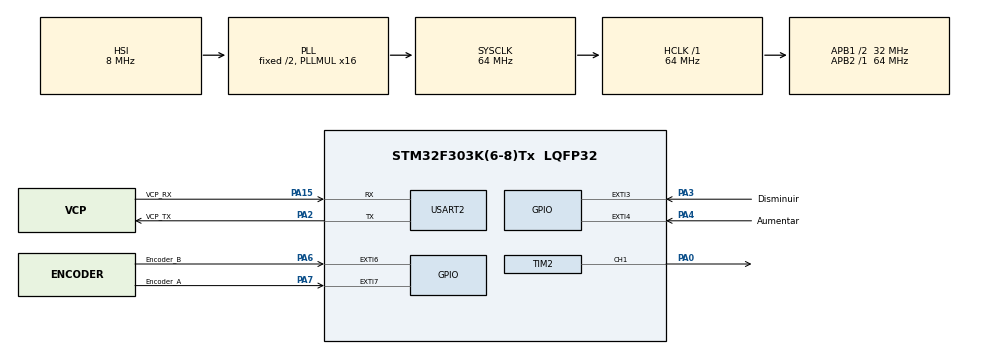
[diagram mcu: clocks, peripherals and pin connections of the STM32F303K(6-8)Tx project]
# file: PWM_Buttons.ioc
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Mcu.Family=STM32F3
Mcu.Name=STM32F303K(6-8)Tx
Mcu.Package=LQFP32
NVIC.EXTI3_IRQn=true\:0\:0\:false\:false\:true\:true
NVIC.EXTI4_IRQn=true\:0\:0\:false\:false\:true\:true
NVIC.EXTI9_5_IRQn=true\:0\:0\:false\:false\:true\:true
NVIC.PriorityGroup=NVIC_PRIORITYGROUP_4
NVIC.TIM3_IRQn=true\:0\:0\:false\:false\:true\:true
PA0.Signal=S_TIM2_CH1_ETR
PA13.GPIO_Label=SWDIO
PA13.Mode=Serial_Wire
PA13.Signal=SYS_JTMS-SWDIO
PA14.GPIO_Label=SWCLK
PA14.Mode=Serial_Wire
PA14.Signal=SYS_JTCK-SWCLK
PA15.GPIO_Label=VCP_RX
PA15.Mode=Asynchronous
PA15.Signal=USART2_RX
PA2.GPIO_Label=VCP_TX
PA2.Mode=Asynchronous
PA2.Signal=USART2_TX
PA3.GPIO_Label=Disminuir
PA3.GPIO_PuPd=GPIO_PULLUP
PA3.Signal=GPXTI3
PA4.GPIO_Label=Aumentar
PA4.GPIO_PuPd=GPIO_PULLUP
PA4.Signal=GPXTI4
PA6.GPIO_Label=Encoder_B
PA6.Signal=GPXTI6
PA7.GPIO_Label=Encoder_A
PA7.Signal=GPXTI7
PF0\ /\ OSC_IN.GPIO_Label=MCO
PF0\ /\ OSC_IN.Mode=HSE-External-Clock-Source
PF0\ /\ OSC_IN.Signal=RCC_OSC_IN
ProjectManager.HeapSize=0x200
ProjectManager.StackSize=0x400
ProjectManager.TargetToolchain=TrueSTUDIO
RCC.AHBFreq_Value=64000000
RCC.APB1CLKDivider=RCC_HCLK_DIV2
RCC.APB1Freq_Value=32000000
RCC.APB1TimFreq_Value=64000000
RCC.APB2Freq_Value=64000000
RCC.APB2TimFreq_Value=64000000
RCC.CortexFreq_Value=64000000
RCC.HCLKFreq_Value=64000000
RCC.HSE_VALUE=8000000
RCC.HSI_VALUE=8000000
RCC.PLLMUL=RCC_PLL_MUL16
RCC.SYSCLKFreq_VALUE=64000000
RCC.SYSCLKSourceVirtual=RCC_SYSCLKSOURCE_PLLCLK
SH.S_TIM2_CH1_ETR.0=TIM2_CH1,PWM Generation1 CH1
TIM2.Channel-PWM\ Generation1\ CH1=TIM_CHANNEL_1
TIM2.Period=1199
TIM2.Prescaler=1
TIM2.Pulse-PWM\ Generation1\ CH1=600
TIM2.TIM_MasterOutputTrigger=TIM_TRGO_RESET
TIM3.Period=99
TIM3.Prescaler=31999
USART2.VirtualMode-Asynchronous=VM_ASYNC
VP_TIM2_VS_ClockSourceINT.Mode=Internal
VP_TIM3_VS_ClockSourceINT.Mode=Internal
board=NUCLEO-F303K8

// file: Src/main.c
/* USER CODE BEGIN Header */
/**
  ******************************************************************************
  * @file           : main.c
  * @brief          : Main program body
  ******************************************************************************
  ** This notice applies to any and all portions of this file
  * that are not between comment pairs USER CODE BEGIN and
  * USER CODE END. Other portions of this file, whether
  * inserted by the user or by software development tools
  * are owned by their respective copyright owners.
  *
  * COPYRIGHT(c) 2019 STMicroelectronics
  *
  * Redistribution and use in source and binary forms, with or without modification,
  * are permitted provided that the following conditions are met:
  *   1. Redistributions of source code must retain the above copyright notice,
  *      this list of conditions and the following disclaimer.
  *   2. Redistributions in binary form must reproduce the above copyright notice,
  *      this list of conditions and the following disclaimer in the documentation
  *      and/or other materials provided with the distribution.
  *   3. Neither the name of STMicroelectronics nor the names of its contributors
  *      may be used to endorse or promote products derived from this software
  *      without specific prior written permission.
  *
  * THIS SOFTWARE IS PROVIDED BY THE COPYRIGHT HOLDERS AND CONTRIBUTORS "AS IS"
  * AND ANY EXPRESS OR IMPLIED WARRANTIES, INCLUDING, BUT NOT LIMITED TO, THE
  * IMPLIED WARRANTIES OF MERCHANTABILITY AND FITNESS FOR A PARTICULAR PURPOSE ARE
  * DISCLAIMED. IN NO EVENT SHALL THE COPYRIGHT HOLDER OR CONTRIBUTORS BE LIABLE
  * FOR ANY DIRECT, INDIRECT, INCIDENTAL, SPECIAL, EXEMPLARY, OR CONSEQUENTIAL
  * DAMAGES (INCLUDING, BUT NOT LIMITED TO, PROCUREMENT OF SUBSTITUTE GOODS OR
  * SERVICES; LOSS OF USE, DATA, OR PROFITS; OR BUSINESS INTERRUPTION) HOWEVER
  * CAUSED AND ON ANY THEORY OF LIABILITY, WHETHER IN CONTRACT, STRICT LIABILITY,
  * OR TORT (INCLUDING NEGLIGENCE OR OTHERWISE) ARISING IN ANY WAY OUT OF THE USE
  * OF THIS SOFTWARE, EVEN IF ADVISED OF THE POSSIBILITY OF SUCH DAMAGE.
  *
  ******************************************************************************
  */
/* USER CODE END Header */

#include "main.h"

/* USER CODE BEGIN PD */
static int duty_cycle = 600;
static char duty_cycle_char[6];
static uint8_t duty_cycle_tx[6];
/* USER CODE END PD */

TIM_HandleTypeDef htim2;
TIM_HandleTypeDef htim3;

UART_HandleTypeDef huart2;

void SystemClock_Config(void);
static void MX_GPIO_Init(void);
static void MX_USART2_UART_Init(void);
static void MX_TIM2_Init(void);
static void MX_TIM3_Init(void);

int main(void)
{

  /* MCU Configuration--------------------------------------------------------*/

  /* Reset of all peripherals, Initializes the Flash interface and the Systick. */
  HAL_Init();

  /* Configure the system clock */
  SystemClock_Config();

  /* Initialize all configured peripherals */
  MX_GPIO_Init();
  MX_USART2_UART_Init();
  MX_TIM2_Init();
  MX_TIM3_Init();
  /* USER CODE BEGIN 2 */
  HAL_TIM_PWM_Start(&htim2, TIM_CHANNEL_1);
  /* USER CODE END 2 */

  /* Infinite loop */
  while (1)
  {

  }
}

void SystemClock_Config(void)
{
  RCC_OscInitTypeDef RCC_OscInitStruct = {0};
  RCC_ClkInitTypeDef RCC_ClkInitStruct = {0};

  /**Initializes the CPU, AHB and APB busses clocks
  */
  RCC_OscInitStruct.OscillatorType = RCC_OSCILLATORTYPE_HSI;
  RCC_OscInitStruct.HSIState = RCC_HSI_ON;
  RCC_OscInitStruct.HSICalibrationValue = RCC_HSICALIBRATION_DEFAULT;
  RCC_OscInitStruct.PLL.PLLState = RCC_PLL_ON;
  RCC_OscInitStruct.PLL.PLLSource = RCC_PLLSOURCE_HSI;
  RCC_OscInitStruct.PLL.PLLMUL = RCC_PLL_MUL16;
  if (HAL_RCC_OscConfig(&RCC_OscInitStruct) != HAL_OK)
  {
    Error_Handler();
  }
  /**Initializes the CPU, AHB and APB busses clocks
  */
  RCC_ClkInitStruct.ClockType = RCC_CLOCKTYPE_HCLK|RCC_CLOCKTYPE_SYSCLK
                              |RCC_CLOCKTYPE_PCLK1|RCC_CLOCKTYPE_PCLK2;
  RCC_ClkInitStruct.SYSCLKSource = RCC_SYSCLKSOURCE_PLLCLK;
  RCC_ClkInitStruct.AHBCLKDivider = RCC_SYSCLK_DIV1;
  RCC_ClkInitStruct.APB1CLKDivider = RCC_HCLK_DIV2;
  RCC_ClkInitStruct.APB2CLKDivider = RCC_HCLK_DIV1;

  if (HAL_RCC_ClockConfig(&RCC_ClkInitStruct, FLASH_LATENCY_2) != HAL_OK)
  {
    Error_Handler();
  }
}

static void MX_TIM2_Init(void)
{

  TIM_ClockConfigTypeDef sClockSourceConfig = {0};
  TIM_MasterConfigTypeDef sMasterConfig = {0};
  TIM_OC_InitTypeDef sConfigOC = {0};

  htim2.Instance = TIM2;
  htim2.Init.Prescaler = 1;
  htim2.Init.CounterMode = TIM_COUNTERMODE_UP;
  htim2.Init.Period = 1199;
  htim2.Init.ClockDivision = TIM_CLOCKDIVISION_DIV1;
  htim2.Init.AutoReloadPreload = TIM_AUTORELOAD_PRELOAD_DISABLE;
  if (HAL_TIM_Base_Init(&htim2) != HAL_OK)
  {
    Error_Handler();
  }
  sClockSourceConfig.ClockSource = TIM_CLOCKSOURCE_INTERNAL;
  if (HAL_TIM_ConfigClockSource(&htim2, &sClockSourceConfig) != HAL_OK)
  {
    Error_Handler();
  }
  if (HAL_TIM_PWM_Init(&htim2) != HAL_OK)
  {
    Error_Handler();
  }
  sMasterConfig.MasterOutputTrigger = TIM_TRGO_RESET;
  sMasterConfig.MasterSlaveMode = TIM_MASTERSLAVEMODE_DISABLE;
  if (HAL_TIMEx_MasterConfigSynchronization(&htim2, &sMasterConfig) != HAL_OK)
  {
    Error_Handler();
  }
  sConfigOC.OCMode = TIM_OCMODE_PWM1;
  sConfigOC.Pulse = 600;
  sConfigOC.OCPolarity = TIM_OCPOLARITY_HIGH;
  sConfigOC.OCFastMode = TIM_OCFAST_DISABLE;
  if (HAL_TIM_PWM_ConfigChannel(&htim2, &sConfigOC, TIM_CHANNEL_1) != HAL_OK)
  {
    Error_Handler();
  }
  HAL_TIM_MspPostInit(&htim2);

}

static void MX_TIM3_Init(void)
{

  TIM_ClockConfigTypeDef sClockSourceConfig = {0};
  TIM_MasterConfigTypeDef sMasterConfig = {0};

  htim3.Instance = TIM3;
  htim3.Init.Prescaler = 31999;
  htim3.Init.CounterMode = TIM_COUNTERMODE_UP;
  htim3.Init.Period = 99;
  htim3.Init.ClockDivision = TIM_CLOCKDIVISION_DIV1;
  htim3.Init.AutoReloadPreload = TIM_AUTORELOAD_PRELOAD_DISABLE;
  if (HAL_TIM_Base_Init(&htim3) != HAL_OK)
  {
    Error_Handler();
  }
  sClockSourceConfig.ClockSource = TIM_CLOCKSOURCE_INTERNAL;
  if (HAL_TIM_ConfigClockSource(&htim3, &sClockSourceConfig) != HAL_OK)
  {
    Error_Handler();
  }
  sMasterConfig.MasterOutputTrigger = TIM_TRGO_RESET;
  sMasterConfig.MasterSlaveMode = TIM_MASTERSLAVEMODE_DISABLE;
  if (HAL_TIMEx_MasterConfigSynchronization(&htim3, &sMasterConfig) != HAL_OK)
  {
    Error_Handler();
  }

}

static void MX_USART2_UART_Init(void)
{

  huart2.Instance = USART2;
  huart2.Init.BaudRate = 38400;
  huart2.Init.WordLength = UART_WORDLENGTH_8B;
  huart2.Init.StopBits = UART_STOPBITS_1;
  huart2.Init.Parity = UART_PARITY_NONE;
  huart2.Init.Mode = UART_MODE_TX_RX;
  huart2.Init.HwFlowCtl = UART_HWCONTROL_NONE;
  huart2.Init.OverSampling = UART_OVERSAMPLING_16;
  huart2.Init.OneBitSampling = UART_ONE_BIT_SAMPLE_DISABLE;
  huart2.AdvancedInit.AdvFeatureInit = UART_ADVFEATURE_NO_INIT;
  if (HAL_UART_Init(&huart2) != HAL_OK)
  {
    Error_Handler();
  }

}

static void MX_GPIO_Init(void)
{
  GPIO_InitTypeDef GPIO_InitStruct = {0};

  /* GPIO Ports Clock Enable */
  __HAL_RCC_GPIOF_CLK_ENABLE();
  __HAL_RCC_GPIOA_CLK_ENABLE();

  /*Configure GPIO pins : Disminuir_Pin Aumentar_Pin */
  GPIO_InitStruct.Pin = Disminuir_Pin|Aumentar_Pin;
  GPIO_InitStruct.Mode = GPIO_MODE_IT_RISING;
  GPIO_InitStruct.Pull = GPIO_PULLUP;
  HAL_GPIO_Init(GPIOA, &GPIO_InitStruct);

  /*Configure GPIO pins : Encoder_B_Pin Encoder_A_Pin */
  GPIO_InitStruct.Pin = Encoder_B_Pin|Encoder_A_Pin;
  GPIO_InitStruct.Mode = GPIO_MODE_IT_RISING;
  GPIO_InitStruct.Pull = GPIO_NOPULL;
  HAL_GPIO_Init(GPIOA, &GPIO_InitStruct);

  /* EXTI interrupt init*/
  HAL_NVIC_SetPriority(EXTI3_IRQn, 0, 0);
  HAL_NVIC_EnableIRQ(EXTI3_IRQn);

  HAL_NVIC_SetPriority(EXTI4_IRQn, 0, 0);
  HAL_NVIC_EnableIRQ(EXTI4_IRQn);

  HAL_NVIC_SetPriority(EXTI9_5_IRQn, 0, 0);
  HAL_NVIC_EnableIRQ(EXTI9_5_IRQn);

}

/* USER CODE BEGIN 4 */
void Aumenta_Duty_Cycle(void) {
	if (duty_cycle <= 1080) {
		duty_cycle = duty_cycle + 120;
		__HAL_TIM_SET_COMPARE(&htim2, TIM_CHANNEL_1, duty_cycle);
		sprintf(duty_cycle_char,"%d\r\n", duty_cycle);
		convert_uart(duty_cycle_char, duty_cycle_tx);
		HAL_UART_Transmit(&huart2,duty_cycle_tx,sizeof(duty_cycle_tx), 10);
	}
}

void Disminuye_Duty_Cycle(void) {
	if (duty_cycle >= 120) {
		duty_cycle = duty_cycle - 120;
		__HAL_TIM_SET_COMPARE(&htim2, TIM_CHANNEL_1, duty_cycle);
		sprintf(duty_cycle_char,"%d\r\n", duty_cycle);
		convert_uart(duty_cycle_char, duty_cycle_tx);
		HAL_UART_Transmit(&huart2,duty_cycle_tx,sizeof(duty_cycle_tx), 10);
	}
}

uint8_t *convert_uart(char *data, uint8_t *data_tx)
{

	uint8_t i;
	for(i=0; i<sizeof(data)+2; i++ ) {
		data_tx[i] = (uint8_t) data[i];
	}
	return data_tx;
}
/* USER CODE END 4 */

void Error_Handler(void)
{
}

/************************ (C) COPYRIGHT STMicroelectronics *****END OF FILE****/
